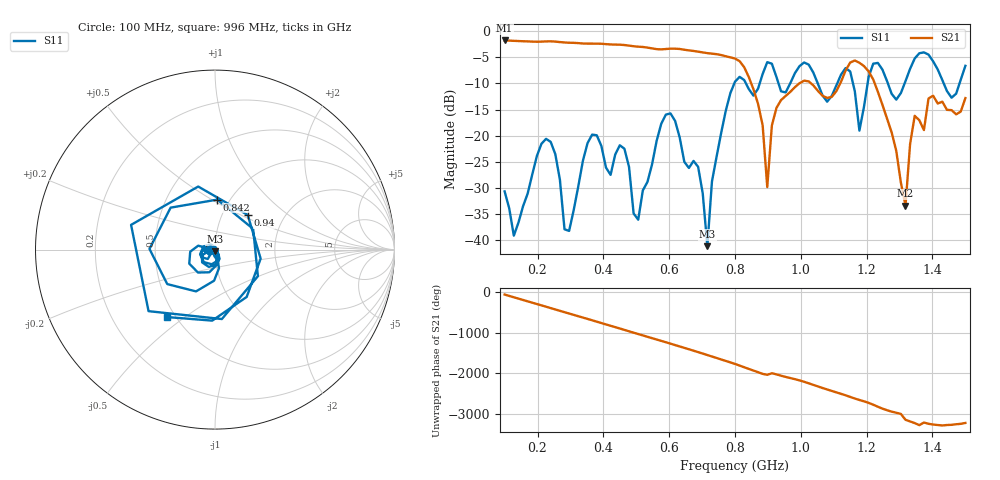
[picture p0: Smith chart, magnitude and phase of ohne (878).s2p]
! NanoVNA-App
! Date: 2025-09-25 14:27:38
! Start: 100MHz Stop: 1,5GHz Points: 101
! S-Parameter data: F S11 S21 S12 S22
# Hz S RI R 50
!  Frequency  S11_Real  S11_Imag  S21_Real  S21_Imag  S12_Real  S12_Imag  S22_Real  S22_Imag
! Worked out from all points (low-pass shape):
!   101 points, 100 MHz to 1.5 GHz, reference 50 ohm
!   highest |S21| = -1.79 dB at 100 MHz (marker M1); lowest = -33.4 dB at 1.318 GHz (marker M2)
!   |S21| within 3 dB of the highest: start of sweep to 770.8 MHz
!   lowest |S11| = -41.1 dB at 716 MHz (marker M3), VSWR 1.02, Z = 49.8 - j0.861 ohm
!   |S11| at or under -10 dB: start of sweep to 797.9 MHz; 833.1 MHz to 875.1 MHz (41.91 MHz wide, 4.91 % of centre); 1.051 GHz to 1.111 GHz (59.29 MHz wide, 5.48 % of centre) (the widest 3 of 7)
!   S12 and S22 are empty: the file has one direction only
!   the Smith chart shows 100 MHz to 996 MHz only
!   S11 on the Smith chart (normalised r, x): 100 MHz: 0.94, -0.01; 842 MHz: 0.88, +0.53; 940 MHz: 1.32, +0.55; 996 MHz: 0.45, -0.43
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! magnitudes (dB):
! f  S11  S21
! 100 MHz  -30.6  -1.8
! 128 MHz  -39.1  -1.9
! 226 MHz  -20.6  -2.0
! 296 MHz  -38.2  -2.2
! 338 MHz  -24.8  -2.4
! 464 MHz  -22.5  -2.7
! 506 MHz  -36.1  -3.0
! 576 MHz  -17.7  -3.5
! 688 MHz  -26.0  -3.9
! 716 MHz  -41.1  -4.2
! 800 MHz  -9.7  -5.3
! 842 MHz  -11.1  -8.8
! 898 MHz  -5.9  -29.8
! 940 MHz  -11.5  -13.2
! 996 MHz  -6.7  -10.0
! 1.038 GHz  -7.9  -10.4
! 1.178 GHz  -19.0  -6.1
! 1.22 GHz  -6.2  -9.3
! 1.276 GHz  -12.0  -19.4
! 1.318 GHz  -9.6  -33.4
! 1.346 GHz  -5.2  -16.2
! 1.5 GHz  -6.6  -12.8
